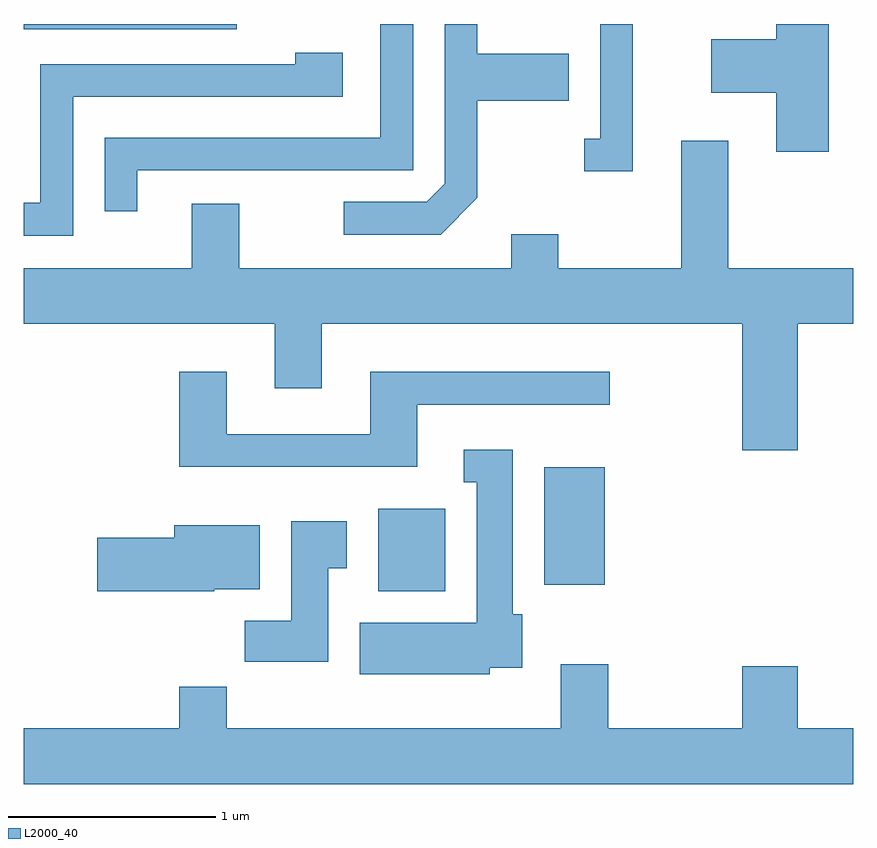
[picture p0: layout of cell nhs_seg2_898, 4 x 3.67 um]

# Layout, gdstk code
import gdstk
lib = gdstk.Library(unit=1e-6, precision=1e-09)
def R(c, l, rs):  # rectangles x0, y0, x1, y1
    for r in rs: c.add(gdstk.rectangle(r[:2], r[2:], *l))
def P(c, l, *ps):  # polygons
    for p in ps: c.add(gdstk.Polygon(p, *l))
L2000_40 = (2000, 40)

nhs_seg2_898 = lib.new_cell('nhs_seg2_898')
R(nhs_seg2_898, L2000_40, [(213.321,1007.066,213.644,1007.464), (214.121,1007.096,214.414,1007.664), (211.611,1009.776,212.638,1009.802)])
P(nhs_seg2_898, L2000_40, [(215.494,1009.802),(215.241,1009.802),(215.241,1009.729),(214.926,1009.729),(214.926,1009.471),(215.241,1009.471),(215.241,1009.186),(215.494,1009.186)],
  [(213.799,1008.964),(213.799,1009.431),(214.239,1009.431),(214.239,1009.659),(213.799,1009.659),(213.799,1009.802),(213.641,1009.802),(213.641,1009.032),(213.554,1008.944),(213.153,1008.944),(213.153,1008.786),(213.622,1008.786)],
  [(214.549,1009.802),(214.391,1009.802),(214.391,1009.249),(214.313,1009.249),(214.313,1009.091),(214.549,1009.091)],
  [(212.159,1009.096),(213.489,1009.096),(213.489,1009.802),(213.331,1009.802),(213.331,1009.254),(212.001,1009.254),(212.001,1008.898),(212.159,1008.898)],
  [(211.849,1009.451),(213.149,1009.451),(213.149,1009.664),(212.921,1009.664),(212.921,1009.609),(211.691,1009.609),(211.691,1008.939),(211.611,1008.939),(211.611,1008.781),(211.849,1008.781)],
  [(215.344,1008.356),(215.611,1008.356),(215.611,1008.624),(215.009,1008.624),(215.009,1009.239),(214.781,1009.239),(214.781,1008.624),(214.189,1008.624),(214.189,1008.789),(213.961,1008.789),(213.961,1008.624),(212.649,1008.624),(212.649,1008.934),(212.421,1008.934),(212.421,1008.624),(211.611,1008.624),(211.611,1008.356),(212.821,1008.356),(212.821,1008.046),(213.049,1008.046),(213.049,1008.356),(215.076,1008.356),(215.076,1007.746),(215.344,1007.746)],
  [(213.509,1007.966),(214.438,1007.966),(214.438,1008.124),(213.281,1008.124),(213.281,1007.824),(212.589,1007.824),(212.589,1008.124),(212.361,1008.124),(212.361,1007.666),(213.509,1007.666)],
  [(213.859,1006.696),(214.014,1006.696),(214.014,1006.954),(213.969,1006.954),(213.969,1007.749),(213.733,1007.749),(213.733,1007.591),(213.796,1007.591),(213.796,1006.914),(213.231,1006.914),(213.231,1006.666),(213.859,1006.666)],
  [(213.079,1007.176),(213.169,1007.176),(213.169,1007.404),(212.901,1007.404),(212.901,1006.924),(212.676,1006.924),(212.676,1006.726),(213.079,1006.726)],
  [(212.53,1007.076),(212.749,1007.076),(212.749,1007.384),(212.336,1007.384),(212.336,1007.324),(211.966,1007.324),(211.966,1007.066),(212.53,1007.066)],
  [(215.076,1006.704),(215.076,1006.404),(214.429,1006.404),(214.429,1006.714),(214.201,1006.714),(214.201,1006.404),(212.589,1006.404),(212.589,1006.604),(212.361,1006.604),(212.361,1006.404),(211.611,1006.404),(211.611,1006.136),(215.611,1006.136),(215.611,1006.404),(215.344,1006.404),(215.344,1006.704)])

lib.write_gds('nhs_seg2_898.gds')
